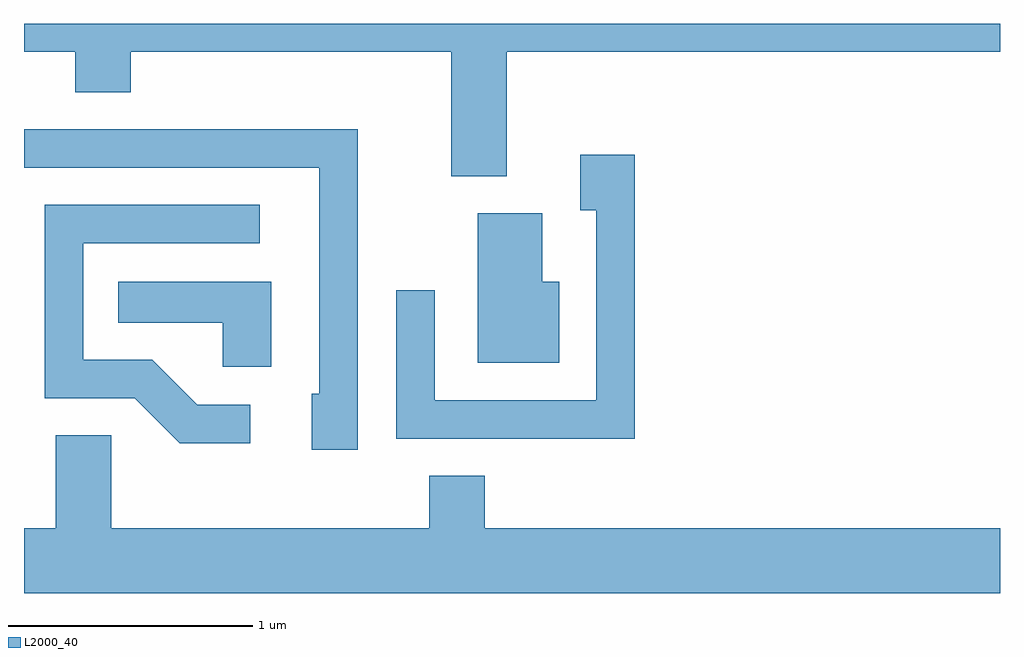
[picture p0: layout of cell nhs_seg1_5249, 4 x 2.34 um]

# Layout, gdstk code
import gdstk
lib = gdstk.Library(unit=1e-6, precision=1e-09)
def P(c, l, *ps):  # polygons
    for p in ps: c.add(gdstk.Polygon(p, *l))
L2000_40 = (2000, 40)

nhs_seg1_5249 = lib.new_cell('nhs_seg1_5249')
P(nhs_seg1_5249, L2000_40, [(345.589,879.596),(347.611,879.596),(347.611,879.712),(343.611,879.712),(343.611,879.596),(343.821,879.596),(343.821,879.431),(344.049,879.431),(344.049,879.596),(345.361,879.596),(345.361,879.086),(345.589,879.086)],
  [(344.979,879.279),(343.611,879.279),(343.611,879.121),(344.821,879.121),(344.821,878.194),(344.791,878.194),(344.791,877.966),(344.979,877.966)],
  [(346.114,879.174),(345.891,879.174),(345.891,878.946),(345.956,878.946),(345.956,878.169),(345.294,878.169),(345.294,878.618),(345.136,878.618),(345.136,878.011),(346.114,878.011)],
  [(344.538,878.149),(344.322,878.149),(344.137,878.334),(343.854,878.334),(343.854,878.811),(344.578,878.811),(344.578,878.969),(343.696,878.969),(343.696,878.176),(344.064,878.176),(344.249,877.991),(344.538,877.991)],
  [(345.804,878.654),(345.734,878.654),(345.734,878.934),(345.471,878.934),(345.471,878.321),(345.804,878.321)],
  [(344.624,878.654),(343.998,878.654),(343.998,878.486),(344.426,878.486),(344.426,878.306),(344.624,878.306)],
  [(347.611,877.644),(345.499,877.644),(345.499,877.859),(345.271,877.859),(345.271,877.644),(343.969,877.644),(343.969,878.024),(343.741,878.024),(343.741,877.644),(343.611,877.644),(343.611,877.376),(347.611,877.376)])

lib.write_gds('nhs_seg1_5249.gds')
